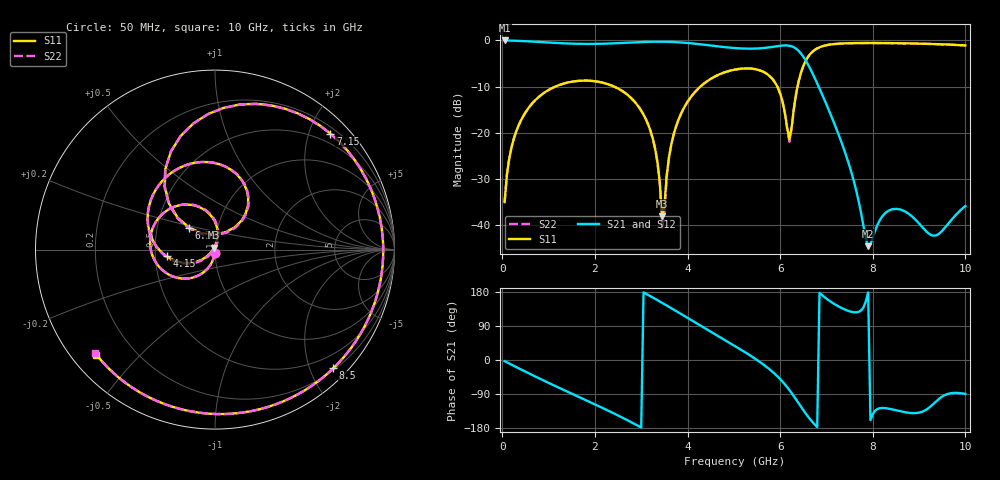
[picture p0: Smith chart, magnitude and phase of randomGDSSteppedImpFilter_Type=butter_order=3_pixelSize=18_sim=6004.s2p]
! freq	dB(S11)	phase(S11)	dB(S12)	phase(S12)
!  dB(S21)	phase(S21)	dB(S22)	phase(S22)
!S-par simulation data
#  GHz  S  DB  R 50
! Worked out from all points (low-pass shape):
!   200 points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, 50 MHz to 10 GHz, reference 50 ohm
!   highest |S21| = 0.00 dB at 50 MHz (marker M1); lowest = -44.5 dB at 7.9 GHz (marker M2)
!   |S21| within 3 dB of the highest: start of sweep to 6.462 GHz
!   lowest |S11| = -38.0 dB at 3.45 GHz (marker M3), VSWR 1.03, Z = 49.5 + j1.14 ohm
!   |S11| at or under -10 dB: start of sweep to 1.144 GHz; 2.417 GHz to 4.277 GHz (1.861 GHz wide, 55.6 % of centre); 5.938 GHz to 6.376 GHz (437.7 MHz wide, 7.11 % of centre)
!   |S22| runs from -40.5 to -0.6 dB; largest |S21 - S12| = 0
!   S11 on the Smith chart (normalised r, x): 50 MHz: 1.00, -0.04; 4.15 GHz: 0.57, -0.05; 6.3 GHz: 0.73, +0.18; 7.15 GHz: 0.31, +2.37; 8.5 GHz: 0.23, -2.39; 10 GHz: 0.07, -0.38
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0.05  -35.03 -93.4  -0.00 -3.1  -0.00 -3.1  -35.03 -93.4
0.2  -23.12 -103.2  -0.04 -12.5  -0.04 -12.5  -23.12 -103.2
0.5  -15.59 -121.6  -0.16 -30.8  -0.16 -30.8  -15.59 -121.7
1.75  -8.70 166.6  -0.75 -103.0  -0.75 -103.0  -8.70 166.3
2.95  -14.45 96.6  -0.37 -174.9  -0.37 -174.9  -14.45 95.4
3.25  -21.26 79.9  -0.28 164.9  -0.28 164.9  -21.30 77.0
3.4  -30.67 81.9  -0.27 154.4  -0.27 154.4  -30.99 73.0
3.45  -38.05 113.5  -0.27 150.9  -0.27 150.9  -40.52 98.2
3.7  -20.39 -143.3  -0.34 133.0  -0.34 133.0  -20.42 -140.6
4.15  -11.29 -172.1  -0.70 100.3  -0.70 100.3  -11.30 -171.3
5.05  -6.26 124.5  -1.67 35.0  -1.67 35.0  -6.26 124.6
5.8  -7.97 66.0  -1.45 -27.6  -1.45 -27.6  -7.98 65.6
6.2  -21.45 91.6  -1.15 -79.3  -1.15 -79.3  -21.92 91.1
6.3  -14.47 139.7  -1.50 -96.4  -1.50 -96.4  -14.58 140.7
6.5  -5.54 121.5  -3.52 -132.4  -3.52 -132.4  -5.56 121.8
6.7  -2.42 92.8  -7.15 -164.1  -7.15 -164.1  -2.43 92.9
7.15  -0.80 45.1  -17.50 149.2  -17.50 149.2  -0.81 44.9
7.9  -0.55 -8.8  -44.55 178.3  -44.55 178.3  -0.56 -9.2
8.35  -0.58 -36.3  -36.82 -128.6  -36.82 -128.6  -0.58 -36.8
8.5  -0.60 -45.1  -36.47 -132.6  -36.47 -132.6  -0.60 -45.6
9.35  -0.79 -95.3  -42.25 -111.1  -42.25 -111.1  -0.79 -95.9
10  -1.08 -138.4  -35.85 -89.5  -35.85 -89.5  -1.08 -139.1
